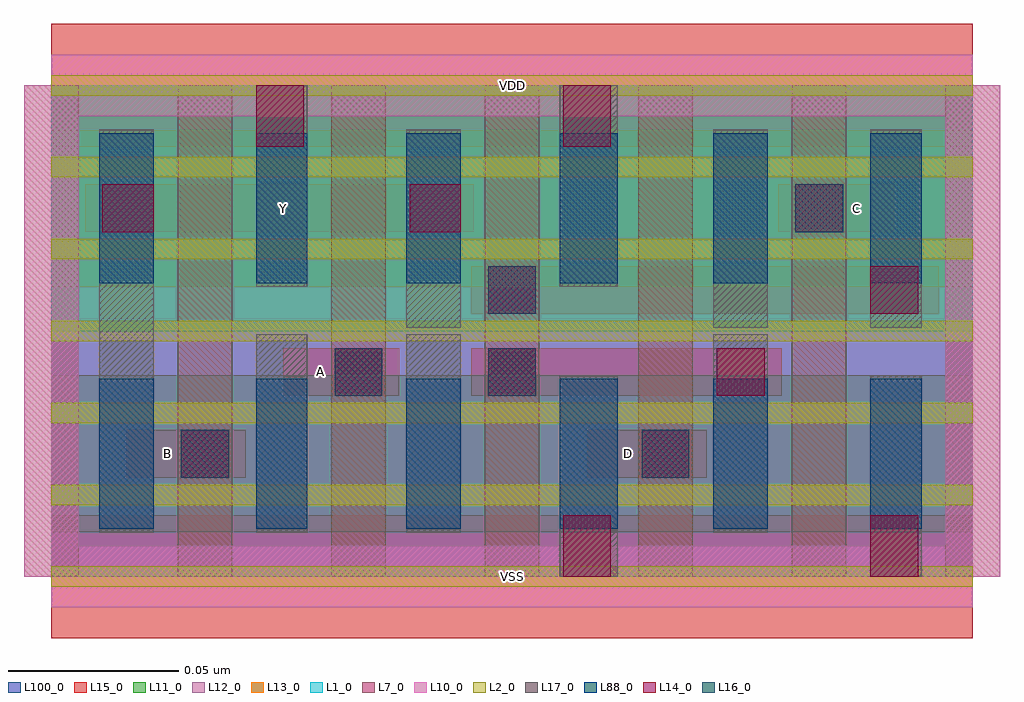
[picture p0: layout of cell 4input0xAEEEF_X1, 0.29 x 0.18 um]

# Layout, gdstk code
import gdstk
lib = gdstk.Library(unit=1e-6, precision=1e-09)
def R(c, l, rs):  # rectangles x0, y0, x1, y1
    for r in rs: c.add(gdstk.rectangle(r[:2], r[2:], *l))
def A(c, l, x, y, w, h, nx, ny, dx, dy):  # array of equal rectangles
    R(c, l, [(x+i*dx, y+j*dy, x+i*dx+w, y+j*dy+h) for i in range(nx) for j in range(ny)])
def P(c, l, *ps):  # polygons
    for p in ps: c.add(gdstk.Polygon(p, *l))
L1_0 = (1, 0)
L2_0 = (2, 0)
L7_0 = (7, 0)
L10_0 = (10, 0)
L11_0 = (11, 0)
L12_0 = (12, 0)
L13_0 = (13, 0)
L14_0 = (14, 0)
L15_0 = (15, 0)
L16_0 = (16, 0)
L17_0 = (17, 0)
L88_0 = (88, 0)
L100_0 = (100, 0)

c_4input0xaeeef_x1 = lib.new_cell('4input0xAEEEF_X1')
R(c_4input0xaeeef_x1, L1_0, [(0,0.072,0.27,0.144)])
A(c_4input0xaeeef_x1, L2_0, 0, -0.003, 0.27, 0.006, 1, 7, 0, 0.024)
A(c_4input0xaeeef_x1, L7_0, -0.008, 0, 0.016, 0.144, 7, 1, 0.045, 0)
P(c_4input0xaeeef_x1, L10_0, [(0,-0.009),(0,0),(-0.008,0),(-0.008,0.135),(0.008,0.135),(0.008,0.009),(0.262,0.009),(0.262,0.135),(-0.008,0.135),(-0.008,0.144),(0,0.144),(0,0.153),(0.27,0.153),(0.27,0.144),(0.278,0.144),(0.278,0),(0.27,0),(0.27,-0.009)])
R(c_4input0xaeeef_x1, L11_0, [(0,0.013,0.27,0.059), (0,0.085,0.27,0.131)])
R(c_4input0xaeeef_x1, L12_0, [(0,0,0.27,0.072)])
R(c_4input0xaeeef_x1, L13_0, [(0,0.072,0.27,0.144)])
R(c_4input0xaeeef_x1, L14_0, [(0.15,0,0.164,0.018), (0.24,0,0.254,0.018), (0.038,0.029,0.052,0.043), (0.173,0.029,0.187,0.043), (0.083,0.053,0.097,0.067), (0.128,0.053,0.142,0.067), (0.195,0.053,0.209,0.067), (0.128,0.077,0.142,0.091), (0.24,0.077,0.254,0.091), (0.015,0.101,0.03,0.115), (0.105,0.101,0.12,0.115), (0.218,0.101,0.232,0.115), (0.06,0.126,0.074,0.144), (0.15,0.126,0.164,0.144)])
R(c_4input0xaeeef_x1, L15_0, [(0,-0.018,0.27,0.018), (0.022,0.029,0.057,0.043), (0.157,0.029,0.192,0.043), (0.068,0.053,0.102,0.067), (0.123,0.053,0.214,0.067), (0.123,0.077,0.26,0.091), (0.01,0.101,0.124,0.115), (0.213,0.101,0.247,0.115), (0,0.126,0.27,0.162)])
R(c_4input0xaeeef_x1, L16_0, [(0.038,0.029,0.052,0.043), (0.173,0.029,0.187,0.043), (0.083,0.053,0.097,0.067), (0.128,0.053,0.142,0.067), (0.128,0.077,0.142,0.091), (0.218,0.101,0.232,0.115)])
R(c_4input0xaeeef_x1, L17_0, [(0.149,0,0.166,0.059), (0.24,0,0.255,0.059), (0.014,0.013,0.03,0.131), (0.06,0.013,0.075,0.071), (0.104,0.013,0.12,0.071), (0.194,0.013,0.21,0.071), (0.104,0.073,0.12,0.131), (0.194,0.073,0.21,0.131), (0.24,0.073,0.255,0.131), (0.06,0.085,0.075,0.144), (0.149,0.085,0.166,0.144)])
A(c_4input0xaeeef_x1, L88_0, 0.014, 0.014, 0.016, 0.044, 3, 2, 0.09, 0.072)
R(c_4input0xaeeef_x1, L88_0, [(0.06,0.014,0.075,0.058), (0.149,0.014,0.166,0.058), (0.24,0.014,0.255,0.058), (0.06,0.086,0.075,0.13), (0.149,0.086,0.166,0.13), (0.24,0.086,0.255,0.13)])
R(c_4input0xaeeef_x1, L100_0, [(0,0,0.27,0.144)])
c_4input0xaeeef_x1.add(gdstk.Label('A', (0.079,0.06), layer=15, texttype=251))
c_4input0xaeeef_x1.add(gdstk.Label('VSS', (0.135,0), layer=15, texttype=251))
c_4input0xaeeef_x1.add(gdstk.Label('VDD', (0.135,0.144), layer=15, texttype=251))
c_4input0xaeeef_x1.add(gdstk.Label('C', (0.236,0.108), layer=15, texttype=251))
c_4input0xaeeef_x1.add(gdstk.Label('VSS', (0.135,0), layer=15, texttype=251))
c_4input0xaeeef_x1.add(gdstk.Label('VDD', (0.135,0.144), layer=15, texttype=251))
c_4input0xaeeef_x1.add(gdstk.Label('D', (0.169,0.036), layer=15, texttype=251))
c_4input0xaeeef_x1.add(gdstk.Label('VSS', (0.135,0), layer=15, texttype=251))
c_4input0xaeeef_x1.add(gdstk.Label('VDD', (0.135,0.144), layer=15, texttype=251))
c_4input0xaeeef_x1.add(gdstk.Label('B', (0.034,0.036), layer=15, texttype=251))
c_4input0xaeeef_x1.add(gdstk.Label('VSS', (0.135,0), layer=15, texttype=251))
c_4input0xaeeef_x1.add(gdstk.Label('VDD', (0.135,0.144), layer=15, texttype=251))
c_4input0xaeeef_x1.add(gdstk.Label('Y', (0.068,0.108), layer=15, texttype=251))
c_4input0xaeeef_x1.add(gdstk.Label('VSS', (0.135,0), layer=15, texttype=251))
c_4input0xaeeef_x1.add(gdstk.Label('VDD', (0.135,0.144), layer=15, texttype=251))
c_4input0xaeeef_x1.add(gdstk.Label('VSS', (0.135,0), layer=3, texttype=251))
c_4input0xaeeef_x1.add(gdstk.Label('VSS', (0.135,0), layer=3, texttype=251))
c_4input0xaeeef_x1.add(gdstk.Label('VSS', (0.135,0), layer=3, texttype=251))
c_4input0xaeeef_x1.add(gdstk.Label('VSS', (0.135,0), layer=3, texttype=251))
c_4input0xaeeef_x1.add(gdstk.Label('VSS', (0.135,0), layer=3, texttype=251))
c_4input0xaeeef_x1.add(gdstk.Label('VDD', (0.135,0.144), layer=1, texttype=251))
c_4input0xaeeef_x1.add(gdstk.Label('VDD', (0.135,0.144), layer=1, texttype=251))
c_4input0xaeeef_x1.add(gdstk.Label('VDD', (0.135,0.144), layer=1, texttype=251))
c_4input0xaeeef_x1.add(gdstk.Label('VDD', (0.135,0.144), layer=1, texttype=251))
c_4input0xaeeef_x1.add(gdstk.Label('VDD', (0.135,0.144), layer=1, texttype=251))

lib.write_gds('4input0xAEEEF_X1.gds')
